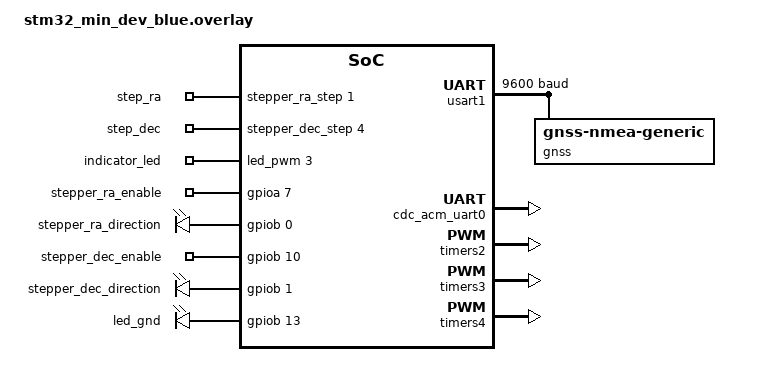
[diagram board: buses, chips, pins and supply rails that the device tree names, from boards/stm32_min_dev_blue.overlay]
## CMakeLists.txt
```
cmake_minimum_required(VERSION 3.20.0)

set(BOARD_ROOT ${CMAKE_CURRENT_LIST_DIR})
set(BOARD "zeqm")

find_package(Zephyr)
project(zephyr_eqm)
add_link_options(--print-memory-usage,-Map=${PROJECT_BINARY_DIR}/${PROJECT_NAME}.map)

include_directories(BEFORE src/)

target_sources(app PRIVATE
        src/main.c

        src/app/target_controller.c

        src/driver/gnss.c
        src/driver/stepper.c
        src/driver/usb.c
)
```

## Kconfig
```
menu "EQM Configurations"

    menu "Stepper motors"
        config MOTOR_RAW_STEPS
            int "Stepper motor resolution in steps."
            default 200
            help
                This is the raw stepper motor resolution and should match the specific stepper motor hardware resolution.
                Do not take in consideration the micro-stepping that some drivers can deliver.

        choice
        help
            Some drivers can deliver micro-stepping for the stepper motor (such as A4988) and if enabled, should be
            specified in this field.
        prompt"Driver Micro-stepping"
        default MICRO_STEPPING_16_STEPS

            config MICRO_STEPPING_FULL_STEP
            bool "No micro-stepping (1/1)"

            config MICRO_STEPPING_HALF_STEP
            bool "1/2 steps"

            config MICRO_STEPPING_QUARTER_STEP
            bool "1/4 steps"

            config MICRO_STEPPING_8_STEPS
            bool "1/8 steps"

            config MICRO_STEPPING_16_STEPS
            bool "1/16 steps"
        endchoice

        config MIN_PERIOD_US
            int "Minimum secure period (max speed) for the stepper motors, in us."
            default 1870
    endmenu

    menu "Gear Ratios"
        config MOUNT_RA_GEAR_RATIO
            int "Gear ratio for the RA axis of the mount."
            default 96
            help
                This is the gear ratio of the equatorial mount right ascension axis, relative to the telescope from
                the stepper motor.

        config MOUNT_DEC_GEAR_RATIO
            int "Gear ratio for the DEC axis of the mount."
            default 96
            help
                This is the gear ratio of the equatorial mount declination axis, relative to the telescope from
                the stepper motor.
    endmenu

    menu "USB"
        config USBD_POWER
        int "zEQM USB bMaxPower value"
        default 125
        range 0 250

        config USB_RING_BUF_SIZE
        int "zEQM USB data ring buffer size"
        default 512
        range 16 2048
    endmenu

endmenu

source "Kconfig.zephyr"
```

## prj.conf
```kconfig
CONFIG_BOOT_BANNER=n
CONFIG_SIZE_OPTIMIZATIONS=y
CONFIG_UART_INTERRUPT_DRIVEN=y
CONFIG_MODEM_MODULES=y
CONFIG_GNSS=y
CONFIG_PWM=y

CONFIG_STDOUT_CONSOLE=y
CONFIG_USB_DEVICE_STACK=y
CONFIG_LOG=y
CONFIG_SERIAL=y
CONFIG_UART_INTERRUPT_DRIVEN=y
CONFIG_UART_LINE_CTRL=y
CONFIG_USB_DEVICE_INITIALIZE_AT_BOOT=n

CONFIG_USB_DEVICE_VID=0xFFFF
CONFIG_USB_DEVICE_PID=0xBEEF
```

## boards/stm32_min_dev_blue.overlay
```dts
/**
 * @file thunderboard.overlay
 * @author Paulo Santos (pauloroberto.santos@edge.ufal.br)
 * @brief Organiza o DTS da placa de controle e seus periféricos.
 * @version 0.1
 * @date 21-08-2023
 *
 * @copyright Copyright (c) 2023
 *
 */

/ {
	zephyr,user {
		pwm-names = "step_ra", "step_dec", "indicator_led";
		pwms = <&stepper_ra_step 1 PWM_USEC(281250) PWM_POLARITY_NORMAL>,
			   <&stepper_dec_step 4 PWM_USEC(281250) PWM_POLARITY_NORMAL>,
			   <&led_pwm 3 PWM_MSEC(1000) PWM_POLARITY_NORMAL>;
	};
};

&usart1 {
	current-speed = <9600>;

	gnss: gnss-nmea-generic {
		compatible = "gnss-nmea-generic";
	};
};

&zephyr_udc0 {
	cdc_acm_uart0 {
		compatible = "zephyr,cdc-acm-uart";
	};
};

&gpioa {
	steppers {
		compatible = "gpio-leds";

		stepper_ra_enable: M1_EN {
			gpios = <&gpioa 7 GPIO_ACTIVE_HIGH>;
		};
	};
};

&gpiob {
	steppers {
		compatible = "gpio-leds";

		stepper_ra_direction: M1_DIR {
			gpios = <&gpiob 0 GPIO_ACTIVE_HIGH>;
		};

		stepper_dec_enable: M2_EN {
			gpios = <&gpiob 10 GPIO_ACTIVE_HIGH>;
		};

		stepper_dec_direction: M2_DIR {
			gpios = <&gpiob 1 GPIO_ACTIVE_HIGH>;
		};
	};

	led {
		compatible = "gpio-leds";

		led_gnd: LED_GND {
			gpios = <&gpiob 13 GPIO_OPEN_DRAIN>;
		};
	};
};

&timers2 {
	st,prescaler = <359>;
	status = "okay";

	stepper_dec_step: pwm {
		status = "okay";
		pinctrl-0 = <&tim2_ch4_remap3_pwm_out_pb11>;
		pinctrl-names = "default";
	};
};

&timers3 {
	st,prescaler = <359>;
	status = "okay";

	stepper_ra_step: pwm {
		status = "okay";
		pinctrl-0 = <&tim3_ch1_pwm_out_pa6>;
		pinctrl-names = "default";
	};
};

&timers4 {
	st,prescaler = <35999>;
	status = "okay";

	led_pwm: pwm {
		status = "okay";
		pinctrl-0 = <&tim4_ch3_pwm_out_pb8>;
		pinctrl-names = "default";
	};
};
```

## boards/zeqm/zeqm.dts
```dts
/*
 * Copyright (c) 2025, Paulo Santos (wkhadgar@github)
 *
 * SPDX-License-Identifier: Apache-2.0
 */

/dts-v1/;
#include <st/f1/stm32f103X8.dtsi>
#include <st/f1/stm32f103r(8-b)tx-pinctrl.dtsi>

/ {
	model = "zEQM GoTo Board";
	compatible = "st,stm32f103c8";

	chosen {
		zephyr,console = &usart1;
		zephyr,shell-uart = &usart1;
		zephyr,osdp-uart = &usart2;
		zephyr,sram = &sram0;
		zephyr,flash = &flash0;
	};

	leds {
		compatible = "gpio-leds";
		led: led {
			gpios = <&gpiob 13 GPIO_ACTIVE_HIGH>;
			label = "LD";
		};
	};
};

&clk_hse {
	clock-frequency = <DT_FREQ_M(8)>;
	status = "okay";
};

&pll {
	mul = <9>;
	clocks = <&clk_hse>;
	status = "okay";
};

&rcc {
	clocks = <&pll>;
	clock-frequency = <DT_FREQ_M(72)>;
	ahb-prescaler = <1>;
	apb1-prescaler = <2>;
	apb2-prescaler = <1>;
	/* usbpre not set: USB clock = 72 / 1.5: 48MHz */
};

&usart1 {
	pinctrl-0 = <&usart1_tx_pa9 &usart1_rx_pa10>;
	current-speed = <115200>;
	pinctrl-names = "default";
	status = "okay";
};

&usart2 {
	pinctrl-0 = <&usart2_tx_pa2 &usart2_rx_pa3>;
	current-speed = <115200>;
	pinctrl-names = "default";
	status = "okay";
};

&usart3 {
	pinctrl-0 = <&usart3_tx_pb10 &usart3_rx_pb11>;
	current-speed = <115200>;
	pinctrl-names = "default";
	status = "okay";
};

&i2c1 {
	pinctrl-0 = < &i2c1_scl_pb6 &i2c1_sda_pb7 >;
	status = "okay";
	pinctrl-names = "default";
	clock-frequency = <I2C_BITRATE_FAST>;
};

&i2c2 {
	pinctrl-0 = < &i2c2_scl_pb10 &i2c2_sda_pb11 >;
	pinctrl-names = "default";
	status = "okay";
	clock-frequency = <I2C_BITRATE_FAST>;
};

&spi1 {
	pinctrl-0 = <&spi1_nss_master_pa4 &spi1_sck_master_pa5
		     &spi1_miso_master_pa6 &spi1_mosi_master_pa7>;
	pinctrl-names = "default";
	status = "okay";
};

&spi2 {
	pinctrl-0 = <&spi2_nss_master_pb12 &spi2_sck_master_pb13
		     &spi2_miso_master_pb14 &spi2_mosi_master_pb15>;
	pinctrl-names = "default";
	status = "okay";
};

&timers1 {
	status = "okay";

	pwm1: pwm {
		status = "okay";
		pinctrl-0 = <&tim1_ch1_pwm_out_pa8>;
		pinctrl-names = "default";
	};
};

zephyr_udc0: &usb {
	pinctrl-0 = <&usb_dm_pa11 &usb_dp_pa12>;
	pinctrl-names = "default";
	status = "okay";
};

&adc1 {
	pinctrl-0 = <&adc1_in0_pa0>;
	pinctrl-names = "default";
	status = "okay";
};
```

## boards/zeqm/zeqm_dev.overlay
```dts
/**
 * @file zeqm_dev.overlay
 * @author Paulo Santos (pauloxrms@gmail.com)
 * @brief Organiza o DTS da placa de controle e seus periféricos.
 * @version 0.1
 * @date 21-04-2025
 *
 * @copyright Copyright (c) 2025

 */

/ {
	zephyr,user {
		pwm-names = "step_ra", "step_dec", "indicator_led";
		pwms = <&stepper_ra_step 1 PWM_USEC(281250) PWM_POLARITY_NORMAL>,
			   <&stepper_dec_step 4 PWM_USEC(281250) PWM_POLARITY_NORMAL>,
			   <&led_pwm 3 PWM_MSEC(1000) PWM_POLARITY_NORMAL>;
	};
};

&usart1 {
	current-speed = <9600>;

	gnss: gnss-nmea-generic {
		compatible = "gnss-nmea-generic";
	};
};

&zephyr_udc0 {
	cdc_acm_uart0 {
		compatible = "zephyr,cdc-acm-uart";
	};
};

&gpioa {
	steppers {
		compatible = "gpio-leds";

		stepper_ra_enable: M1_EN {
			gpios = <&gpioa 7 GPIO_ACTIVE_HIGH>;
		};
	};
};

&gpiob {
	steppers {
		compatible = "gpio-leds";

		stepper_ra_direction: M1_DIR {
			gpios = <&gpiob 0 GPIO_ACTIVE_HIGH>;
		};

		stepper_dec_enable: M2_EN {
			gpios = <&gpiob 10 GPIO_ACTIVE_HIGH>;
		};

		stepper_dec_direction: M2_DIR {
			gpios = <&gpiob 1 GPIO_ACTIVE_HIGH>;
		};
	};

	led {
		compatible = "gpio-leds";

		led_gnd: LED_GND {
			gpios = <&gpiob 13 GPIO_OPEN_DRAIN>;
		};
	};
};

&timers2 {
	st,prescaler = <359>;
	status = "okay";

	stepper_dec_step: pwm {
		status = "okay";
		pinctrl-0 = <&tim2_ch4_remap3_pwm_out_pb11>;
		pinctrl-names = "default";
	};
};

&timers3 {
	st,prescaler = <359>;
	status = "okay";

	stepper_ra_step: pwm {
		status = "okay";
		pinctrl-0 = <&tim3_ch1_pwm_out_pa6>;
		pinctrl-names = "default";
	};
};

&timers4 {
	st,prescaler = <35999>;
	status = "okay";

	led_pwm: pwm {
		status = "okay";
		pinctrl-0 = <&tim4_ch3_pwm_out_pb8>;
		pinctrl-names = "default";
	};
};
```

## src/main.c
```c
/**
 * @file main.c
 * @author Paulo Santos (pauloroberto.santos@edge.ufal.br)
 * @brief Ponto de entrada da aplicação.
 * @version 0.1
 * @date 21-08-2023
 *
 * @copyright Copyright (c) 2023
 *
 */

#include "app/target_controller.h"
#include "driver/usb.h"
#include "infra/guards.h"

#include <zephyr/logging/log.h>

LOG_MODULE_REGISTER(main);

int main(void)
{
	LOG_INF("Iniciando Zephyr EQM.\n");
	uint8_t buf[128] = {0};

	LOG_INF("Init USB: %d", zeqm_usb_init());

	while (true) {
		/* Wait for message. */
		LOG_INF("Waiting for message...\n");
		k_sem_take(&recv_sem, K_FOREVER);

		ZEQM_CHECK_ERROR(read_usb_msg(buf, sizeof(buf), '\n', K_SECONDS(5)),
				 LOG_WRN("Unable to read succesfully: %d", err));

		ZEQM_CHECK_ERROR(send_usb_msg(buf, strlen(buf)),
				 LOG_WRN("Unable to send succesfully: %d", err));
	}

	return 0;
}
```
